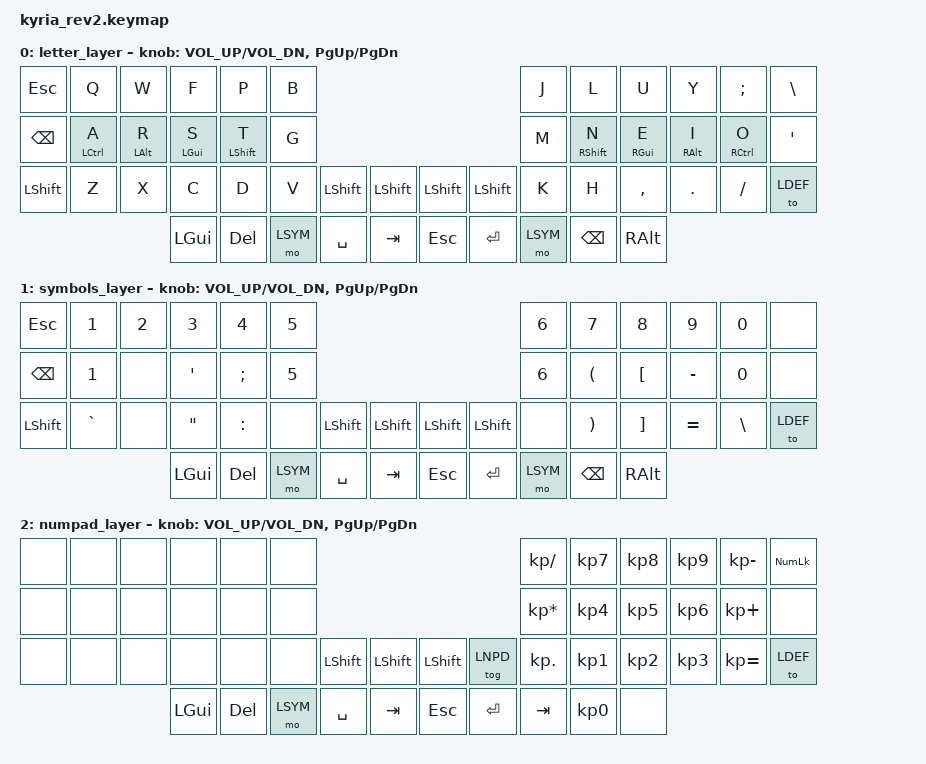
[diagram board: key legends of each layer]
/*
 * Copyright (c) 2020 The ZMK Contributors
 *
 * SPDX-License-Identifier: MIT
 */

#include <behaviors.dtsi>
#include <dt-bindings/zmk/keys.h>

#define LLTR 0
#define LSYM 1
#define LNPD 2

#define LDEF 0

/ {
    behaviors {
      hm: homerow-mod {
        compatible = "zmk,behavior-hold-tap";
        label = "HOMEROW_MOD";
        #binding-cells = <2>;
        tapping_term_ms = <150>; // <200>;
        quick_tap_ms = <0>;
        flavor = "tap-preferred"; // "balanced";
        bindings = <&kp>, <&kp>;
      };
    };

    keymap {
        compatible = "zmk,keymap";

        letter_layer {
// -------------------------------------------------------------------------------------------------------------------------------------------------------------------------------
// |  ESC    |  Q        |  W       |  F       |  P        |   B    |                                           |   J    |  L        |  L       |  Y       |   ;       |   \     |
// | BSPC    |  A/LCTRL  |  R/LALT  |  S/LGUI  |  T/LSHFT  |   G    |                                           |   M    |  N/RSHFT  |  E/RGUI  |  I/RALT  | O/RCTRL   |   '     |
// | SHIFT   |  Z        |  X       |  C       |  D        |   V    | L SHIFT | L SHIFT |   | L SHIFT | LNPD    |   K    |  H        |  ,       |  .       |   /       | LDEF    |
//                                  | GUI      | DEL       |  LSYM  |  SPACE  |   TAB   |   |   ESC   | RET     |  LSYM  |  BSPC     |   R-ALT  |
            bindings = <
    &kp ESC   &kp Q       &kp W      &kp F      &kp P       &kp B                                                &kp J    &kp L       &kp U      &kp Y      &kp SEMI    &kp BSLH
    &kp BSPC  &hm LCTRL A &hm LALT R &hm LGUI S &hm LSHFT T &kp G                                                &kp M    &hm RSHFT N &hm RGUI E &hm RALT I &hm RCTRL O &kp SQT
    &kp LSHFT &kp Z       &kp X      &kp C      &kp D       &kp V    &kp LSHFT &kp LSHFT     &kp LSHFT &kp LSHFT &kp K    &kp H       &kp COMMA  &kp DOT    &kp FSLH    &to LDEF
                                     &kp LGUI   &kp DEL     &mo LSYM &kp SPACE &kp TAB       &kp ESC   &kp RET   &mo LSYM &kp BSPC    &kp RALT
            >;

            sensor-bindings = <&inc_dec_kp C_VOL_UP C_VOL_DN &inc_dec_kp PG_UP PG_DN>;
        };

        symbols_layer {
// -----------------------------------------------------------------------------------------------------------------------------------------------------------
// |  ESC    |    1    |  2   |   3   |    4    |    5    |                                           |   6    |   7    |   8    |    9    |   0    |        |
// |  TAB    |    1    |      |   '   |    ;    |    5    |                                           |   6    |   (    |   [    |    -    |   0    |        |
// | SHIFT   |    `    |      |   "   |    :    |         | L SHIFT | L SHIFT |   | L SHIFT | L SHIFT |        |   )    |   ]    |    =    |   \    |  LDEF  |
//                            |  GUI  |   DEL   |  LSYM   |  SPACE  |   TAB   |   |   ESC   |  RET    |  LSYM  |  BSPC  | R-ALT  |
            bindings = <
    &kp ESC   &kp N1    &kp N2 &kp N3   &kp N4    &kp N5                                               &kp N6   &kp N7   &kp N8   &kp N9    &kp N0   &none
    &kp BSPC  &kp N1    &none  &kp SQT  &kp SEMI  &kp N5                                               &kp N6   &kp LPAR &kp LBKT &kp MINUS &kp N0   &none
    &kp LSHFT &kp GRAVE &none  &kp DQT  &kp COLON &none    &kp LSHFT &kp LSHFT     &kp LSHFT &kp LSHFT &none    &kp RPAR &kp RBKT &kp EQUAL &kp BSLH &to LDEF
                               &kp LGUI &kp DEL   &mo LSYM &kp SPACE &kp TAB       &kp ESC   &kp RET   &mo LSYM &kp BSPC &kp RALT
            >;

            sensor-bindings = <&inc_dec_kp C_VOL_UP C_VOL_DN &inc_dec_kp PG_UP PG_DN>;
        };

        numpad_layer {
// --------------------------------------------------------------------------------------------------------------------------------------------------------------------------
// |     |     |     |        |       |        |                                           |  /            |    7    |    8    |    9    |     -      |   NLCK   |
// |     |     |     |        |       |        |                                           |  *            |    4    |    5    |    6    |     +      |          |
// |     |     |     |        |       |        | L SHIFT | L SHIFT |   | L SHIFT | LNPD    |  .            |    1    |    2    |    3    |     =      |   LDEF   |
//                   |        |       |        |  SPACE  |   TAB   |   |   ESC   |  RET    | LSYM          |    0    |         |
            bindings = <
    &none &none &none &none    &none   &none                                                &kp KP_DIVIDE   &kp KP_N7 &kp KP_N8 &kp KP_N9 &kp KP_MINUS &kp KP_NUM
    &none &none &none &none    &none   &none                                                &kp KP_MULTIPLY &kp KP_N4 &kp KP_N5 &kp KP_N6 &kp KP_PLUS  &none
    &none &none &none &none    &none   &none    &kp LSHFT &kp LSHFT     &kp LSHFT &tog LNPD &kp KP_DOT      &kp KP_N1 &kp KP_N2 &kp KP_N3 &kp KP_EQUAL &to LDEF
                      &kp LGUI &kp DEL &mo LSYM &kp SPACE &kp TAB       &kp ESC   &kp RET   &kp TAB         &kp KP_N0 &none
            >;

            sensor-bindings = <&inc_dec_kp C_VOL_UP C_VOL_DN &inc_dec_kp PG_UP PG_DN>;
        };
    };
};
